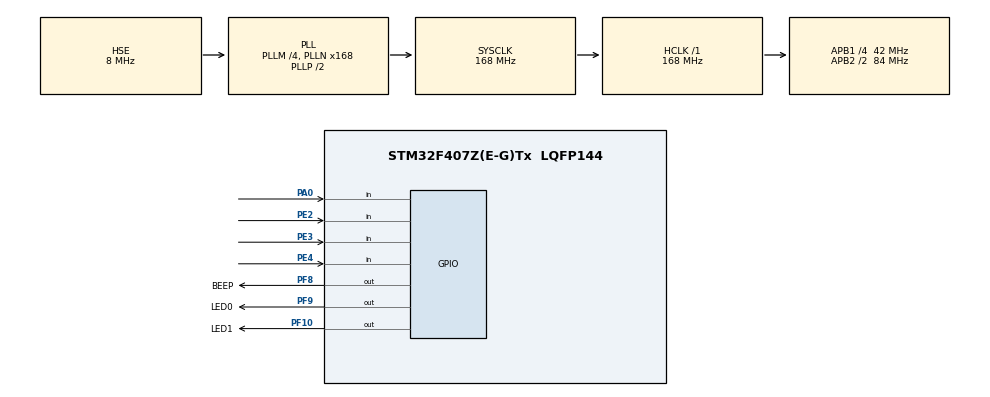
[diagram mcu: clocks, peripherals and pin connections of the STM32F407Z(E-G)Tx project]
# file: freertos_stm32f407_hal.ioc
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FREERTOS.Queues01=myQueue01,16,uint16_t,0,Dynamic,NULL,NULL;myQueue02,16,uint16_t,0,Dynamic,NULL,NULL
FREERTOS.Tasks01=defaultTask,0,128,StartDefaultTask,Default,NULL,Dynamic,NULL,NULL;myTask02,-3,128,StartTask02,Default,NULL,Dynamic,NULL,NULL;myTask03,-3,128,StartTask03,Default,NULL,Dynamic,NULL,NULL
Mcu.Family=STM32F4
Mcu.Name=STM32F407Z(E-G)Tx
Mcu.Package=LQFP144
NVIC.PriorityGroup=NVIC_PRIORITYGROUP_4
PA0-WKUP.GPIO_PuPd=GPIO_PULLDOWN
PA0-WKUP.Signal=GPIO_Input
PE2.GPIO_PuPd=GPIO_PULLUP
PE2.Signal=GPIO_Input
PE3.GPIO_PuPd=GPIO_PULLUP
PE3.Signal=GPIO_Input
PE4.GPIO_PuPd=GPIO_PULLUP
PE4.Signal=GPIO_Input
PF10.GPIO_Label=LED1
PF10.Signal=GPIO_Output
PF8.GPIO_Label=BEEP
PF8.Signal=GPIO_Output
PF9.GPIO_Label=LED0
PF9.Signal=GPIO_Output
PH0-OSC_IN.Mode=HSE-External-Oscillator
PH0-OSC_IN.Signal=RCC_OSC_IN
PH1-OSC_OUT.Mode=HSE-External-Oscillator
PH1-OSC_OUT.Signal=RCC_OSC_OUT
ProjectManager.HeapSize=0x200
ProjectManager.StackSize=0x400
ProjectManager.TargetToolchain=MDK-ARM V5.32
RCC.48MHZClocksFreq_Value=84000000
RCC.AHBFreq_Value=168000000
RCC.APB1CLKDivider=RCC_HCLK_DIV4
RCC.APB1Freq_Value=42000000
RCC.APB1TimFreq_Value=84000000
RCC.APB2CLKDivider=RCC_HCLK_DIV2
RCC.APB2Freq_Value=84000000
RCC.APB2TimFreq_Value=168000000
RCC.CortexFreq_Value=168000000
RCC.HCLKFreq_Value=168000000
RCC.HSE_VALUE=8000000
RCC.HSI_VALUE=16000000
RCC.LSE_VALUE=32768
RCC.PLLM=4
RCC.PLLN=168
RCC.PLLSourceVirtual=RCC_PLLSOURCE_HSE
RCC.SYSCLKFreq_VALUE=168000000
RCC.SYSCLKSource=RCC_SYSCLKSOURCE_PLLCLK
RCC.VCOOutputFreq_Value=336000000
VP_FREERTOS_VS_CMSIS_V1.Mode=CMSIS_V1
board=custom

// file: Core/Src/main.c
/* USER CODE BEGIN Header */
/**
  ******************************************************************************
  * @file           : main.c
  * @brief          : Main program body
  ******************************************************************************
  * @attention
  *
  * <h2><center>&copy; Copyright (c) 2022 STMicroelectronics.
  * All rights reserved.</center></h2>
  *
  * This software component is licensed by ST under Ultimate Liberty license
  * SLA0044, the "License"; You may not use this file except in compliance with
  * the License. You may obtain a copy of the License at:
  *                             www.st.com/SLA0044
  *
  ******************************************************************************
  */
/* USER CODE END Header */
#include "main.h"
#include "cmsis_os.h"
#include "gpio.h"

void SystemClock_Config(void);
void MX_FREERTOS_Init(void);

int main(void)
{

  /* MCU Configuration--------------------------------------------------------*/

  /* Reset of all peripherals, Initializes the Flash interface and the Systick. */
  HAL_Init();

  /* Configure the system clock */
  SystemClock_Config();

  /* Initialize all configured peripherals */
  MX_GPIO_Init();

  /* Call init function for freertos objects (in freertos.c) */
  MX_FREERTOS_Init();
  /* Start scheduler */
  osKernelStart();

  /* We should never get here as control is now taken by the scheduler */
  /* Infinite loop */
  while (1)
  {

  }
}

void SystemClock_Config(void)
{
  RCC_OscInitTypeDef RCC_OscInitStruct = {0};
  RCC_ClkInitTypeDef RCC_ClkInitStruct = {0};

  /** Configure the main internal regulator output voltage
  */
  __HAL_RCC_PWR_CLK_ENABLE();
  __HAL_PWR_VOLTAGESCALING_CONFIG(PWR_REGULATOR_VOLTAGE_SCALE1);
  /** Initializes the RCC Oscillators according to the specified parameters
  * in the RCC_OscInitTypeDef structure.
  */
  RCC_OscInitStruct.OscillatorType = RCC_OSCILLATORTYPE_HSE;
  RCC_OscInitStruct.HSEState = RCC_HSE_ON;
  RCC_OscInitStruct.PLL.PLLState = RCC_PLL_ON;
  RCC_OscInitStruct.PLL.PLLSource = RCC_PLLSOURCE_HSE;
  RCC_OscInitStruct.PLL.PLLM = 4;
  RCC_OscInitStruct.PLL.PLLN = 168;
  RCC_OscInitStruct.PLL.PLLP = RCC_PLLP_DIV2;
  RCC_OscInitStruct.PLL.PLLQ = 4;
  if (HAL_RCC_OscConfig(&RCC_OscInitStruct) != HAL_OK)
  {
    Error_Handler();
  }
  /** Initializes the CPU, AHB and APB buses clocks
  */
  RCC_ClkInitStruct.ClockType = RCC_CLOCKTYPE_HCLK|RCC_CLOCKTYPE_SYSCLK
                              |RCC_CLOCKTYPE_PCLK1|RCC_CLOCKTYPE_PCLK2;
  RCC_ClkInitStruct.SYSCLKSource = RCC_SYSCLKSOURCE_PLLCLK;
  RCC_ClkInitStruct.AHBCLKDivider = RCC_SYSCLK_DIV1;
  RCC_ClkInitStruct.APB1CLKDivider = RCC_HCLK_DIV4;
  RCC_ClkInitStruct.APB2CLKDivider = RCC_HCLK_DIV2;

  if (HAL_RCC_ClockConfig(&RCC_ClkInitStruct, FLASH_LATENCY_5) != HAL_OK)
  {
    Error_Handler();
  }
}

void Error_Handler(void)
{
  __disable_irq();
  while (1)
  {
  }
}

/************************ (C) COPYRIGHT STMicroelectronics *****END OF FILE****/

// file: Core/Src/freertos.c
/* USER CODE BEGIN Header */
/**
  ******************************************************************************
  * File Name          : freertos.c
  * Description        : Code for freertos applications
  ******************************************************************************
  * @attention
  *
  * <h2><center>&copy; Copyright (c) 2022 STMicroelectronics.
  * All rights reserved.</center></h2>
  *
  * This software component is licensed by ST under Ultimate Liberty license
  * SLA0044, the "License"; You may not use this file except in compliance with
  * the License. You may obtain a copy of the License at:
  *                             www.st.com/SLA0044
  *
  ******************************************************************************
  */
/* USER CODE END Header */

#include "FreeRTOS.h"
#include "task.h"
#include "main.h"
#include "cmsis_os.h"

/* USER CODE BEGIN Includes */
#include "gpio.h"
/* USER CODE END Includes */

osThreadId defaultTaskHandle;
osThreadId myTask02Handle;
osThreadId myTask03Handle;
osMessageQId myQueue01Handle;
osMessageQId myQueue02Handle;

void StartDefaultTask(void const * argument);
void StartTask02(void const * argument);
void StartTask03(void const * argument);

void MX_FREERTOS_Init(void); /* (MISRA C 2004 rule 8.1) */

/* GetIdleTaskMemory prototype (linked to static allocation support) */
void vApplicationGetIdleTaskMemory( StaticTask_t **ppxIdleTaskTCBBuffer, StackType_t **ppxIdleTaskStackBuffer, uint32_t *pulIdleTaskStackSize );

/* USER CODE BEGIN GET_IDLE_TASK_MEMORY */
static StaticTask_t xIdleTaskTCBBuffer;
static StackType_t xIdleStack[configMINIMAL_STACK_SIZE];

void vApplicationGetIdleTaskMemory( StaticTask_t **ppxIdleTaskTCBBuffer, StackType_t **ppxIdleTaskStackBuffer, uint32_t *pulIdleTaskStackSize )
{
  *ppxIdleTaskTCBBuffer = &xIdleTaskTCBBuffer;
  *ppxIdleTaskStackBuffer = &xIdleStack[0];
  *pulIdleTaskStackSize = configMINIMAL_STACK_SIZE;
  /* place for user code */
}
/* USER CODE END GET_IDLE_TASK_MEMORY */

void MX_FREERTOS_Init(void) {

  /* Create the queue(s) */
  /* definition and creation of myQueue01 */
  osMessageQDef(myQueue01, 16, uint16_t);
  myQueue01Handle = osMessageCreate(osMessageQ(myQueue01), NULL);

  /* definition and creation of myQueue02 */
  osMessageQDef(myQueue02, 16, uint16_t);
  myQueue02Handle = osMessageCreate(osMessageQ(myQueue02), NULL);

  /* Create the thread(s) */
  /* definition and creation of defaultTask */
  osThreadDef(defaultTask, StartDefaultTask, osPriorityNormal, 0, 128);
  defaultTaskHandle = osThreadCreate(osThread(defaultTask), NULL);

  /* definition and creation of myTask02 */
  osThreadDef(myTask02, StartTask02, osPriorityIdle, 0, 128);
  myTask02Handle = osThreadCreate(osThread(myTask02), NULL);

  /* definition and creation of myTask03 */
  osThreadDef(myTask03, StartTask03, osPriorityIdle, 0, 128);
  myTask03Handle = osThreadCreate(osThread(myTask03), NULL);

}

void StartDefaultTask(void const * argument)
{
  for(;;)
  {
    osDelay(1);
  }
}

void StartTask02(void const * argument)
{
  /* USER CODE BEGIN StartTask02 */
		uint8_t key;
	BaseType_t err;
  /* Infinite loop */
  for(;;)
  {
		key=key_scan(0);            	//????
        if((myQueue01Handle!=NULL)&&(key))   	//????Key_Queue????,???????
        {
            err=xQueueSend(myQueue01Handle,&key,10);
            if(err==errQUEUE_FULL)   	//?????
            {

            }
        }
    osDelay(1);
  }
  /* USER CODE END StartTask02 */
}

void StartTask03(void const * argument)
{
  /* USER CODE BEGIN StartTask03 */
	uint8_t key;
  /* Infinite loop */
  for(;;)
  {
		if(myQueue01Handle!=NULL)
        {
            if(xQueueReceive(myQueue01Handle,&key,portMAX_DELAY))//????Key_Queue
            {
                switch(key)
                {
                    case 1:		//KEY_UP??LED1
                        HAL_GPIO_TogglePin(LED1_GPIO_Port,LED1_Pin);
                        break;

                    case 2:		//KEY2?????
                        HAL_GPIO_TogglePin(BEEP_GPIO_Port,BEEP_Pin);
                        break;

                    case 3:		//KEY_1??LED0
                        HAL_GPIO_TogglePin(LED0_GPIO_Port,LED0_Pin);
                        break;

									   case 4:		//KEY0??LED0,LED1
                        HAL_GPIO_TogglePin(LED0_GPIO_Port,LED0_Pin);
										    HAL_GPIO_TogglePin(LED1_GPIO_Port,LED1_Pin);
                        break;

										 default :
											  break;
                }
            }
        }
    osDelay(1);
  }
  /* USER CODE END StartTask03 */
}

/************************ (C) COPYRIGHT STMicroelectronics *****END OF FILE****/
